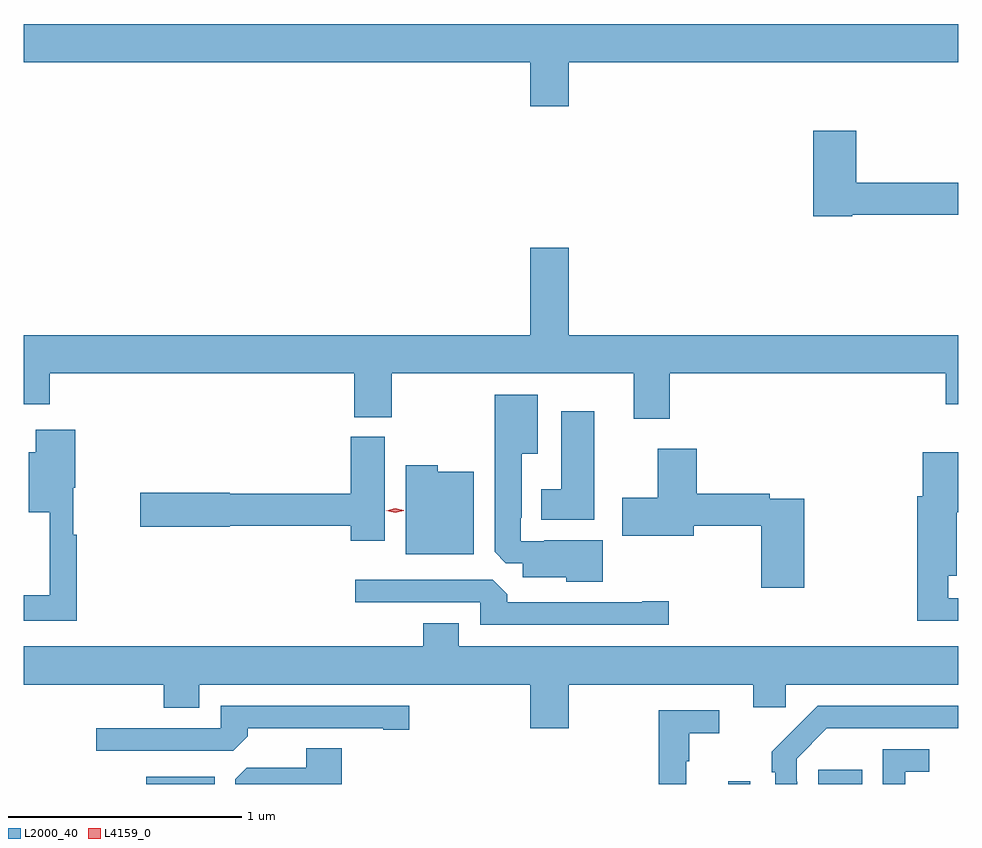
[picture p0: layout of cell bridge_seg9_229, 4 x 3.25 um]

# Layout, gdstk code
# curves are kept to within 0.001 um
import gdstk
lib = gdstk.Library(unit=1e-6, precision=1e-09)
def R(c, l, rs):  # rectangles x0, y0, x1, y1
    for r in rs: c.add(gdstk.rectangle(r[:2], r[2:], *l))
def P(c, l, *ps):  # polygons
    for p in ps: c.add(gdstk.Polygon(p, *l))
L2000_40 = (2000, 40)
L4159_0 = (4159, 0)

bridge_seg9_229 = lib.new_cell('bridge_seg9_229')
R(bridge_seg9_229, L2000_40, [(235.292,1207.982,235.585,1208.014), (237.783,1207.982,237.879,1207.993), (238.169,1207.982,238.357,1208.044)])
P(bridge_seg9_229, L2000_40, [(237.1,1211.072),(238.768,1211.072),(238.768,1211.236),(234.768,1211.236),(234.768,1211.072),(236.936,1211.072),(236.936,1210.884),(237.1,1210.884)],
  [(238.314,1210.42),(238.768,1210.42),(238.768,1210.556),(238.331,1210.556),(238.331,1210.78),(238.148,1210.78),(238.148,1210.412),(238.314,1210.412)],
  [(237.533,1209.74),(238.715,1209.74),(238.715,1209.609),(238.768,1209.609),(238.768,1209.904),(237.1,1209.904),(237.1,1210.279),(236.936,1210.279),(236.936,1209.904),(234.768,1209.904),(234.768,1209.609),(234.878,1209.609),(234.878,1209.74),(236.183,1209.74),(236.183,1209.553),(236.343,1209.553),(236.343,1209.74),(237.38,1209.74),(237.38,1209.546),(237.533,1209.546)],
  [(237.247,1209.025),(236.995,1209.025),(236.995,1209.021),(236.895,1209.021),(236.895,1209.121),(236.899,1209.121),(236.899,1209.395),(236.968,1209.395),(236.968,1209.649),(236.783,1209.649),(236.783,1208.977),(236.832,1208.928),(236.903,1208.928),(236.903,1208.867),(237.09,1208.867),(237.09,1208.849),(237.247,1208.849)],
  [(237.211,1209.577),(237.068,1209.577),(237.068,1209.244),(236.984,1209.244),(236.984,1209.113),(237.211,1209.113)],
  [(234.995,1209.05),(234.98,1209.05),(234.98,1209.25),(234.989,1209.25),(234.989,1209.499),(234.818,1209.499),(234.818,1209.403),(234.788,1209.403),(234.788,1209.146),(234.878,1209.146),(234.878,1208.791),(234.768,1208.791),(234.768,1208.682),(234.995,1208.682)],
  [(236.314,1209.468),(236.168,1209.468),(236.168,1209.224),(235.65,1209.224),(235.65,1209.23),(235.266,1209.23),(235.266,1209.083),(235.65,1209.083),(235.65,1209.088),(236.168,1209.088),(236.168,1209.024),(236.314,1209.024)],
  [(238.109,1209.204),(237.962,1209.204),(237.962,1209.224),(237.65,1209.224),(237.65,1209.418),(237.482,1209.418),(237.482,1209.207),(237.33,1209.207),(237.33,1209.044),(237.637,1209.044),(237.637,1209.088),(237.926,1209.088),(237.926,1208.823),(238.109,1208.823)],
  [(238.768,1208.778),(238.726,1208.778),(238.726,1208.873),(238.762,1208.873),(238.762,1209.146),(238.768,1209.146),(238.768,1209.403),(238.616,1209.403),(238.616,1209.213),(238.592,1209.213),(238.592,1208.682),(238.768,1208.682)],
  [(236.695,1209.319),(236.541,1209.319),(236.541,1209.346),(236.402,1209.346),(236.402,1208.966),(236.695,1208.966)],
  [(237.529,1208.765),(237.416,1208.765),(237.416,1208.76),(236.837,1208.76),(236.837,1208.794),(236.775,1208.856),(236.187,1208.856),(236.187,1208.76),(236.721,1208.76),(236.721,1208.664),(237.529,1208.664)],
  [(237.1,1208.408),(237.89,1208.408),(237.89,1208.31),(238.029,1208.31),(238.029,1208.408),(238.768,1208.408),(238.768,1208.572),(236.629,1208.572),(236.629,1208.671),(236.477,1208.671),(236.477,1208.572),(234.768,1208.572),(234.768,1208.408),(235.367,1208.408),(235.367,1208.309),(235.519,1208.309),(235.519,1208.408),(236.936,1208.408),(236.936,1208.22),(237.1,1208.22)],
  [(238.08,1207.991),(238.077,1207.991),(238.077,1208.091),(238.206,1208.22),(238.768,1208.22),(238.768,1208.316),(238.166,1208.316),(237.969,1208.121),(237.969,1208.033),(237.984,1208.033),(237.984,1207.982),(238.08,1207.982)],
  [(235.727,1208.186),(235.727,1208.22),(236.306,1208.22),(236.306,1208.215),(236.419,1208.215),(236.419,1208.316),(235.611,1208.316),(235.611,1208.22),(235.077,1208.22),(235.077,1208.124),(235.665,1208.124)],
  [(237.605,1208.079),(237.616,1208.079),(237.616,1208.2),(237.745,1208.2),(237.745,1208.298),(237.487,1208.298),(237.487,1207.982),(237.605,1207.982)],
  [(236.129,1208.135),(235.976,1208.135),(235.976,1208.052),(235.722,1208.052),(235.673,1208.003),(235.673,1207.982),(236.129,1207.982)],
  [(238.542,1208.034),(238.645,1208.034),(238.645,1208.13),(238.446,1208.13),(238.446,1207.982),(238.542,1207.982)])
P(bridge_seg9_229, L4159_0, [(236.357,1209.143),(236.319,1209.152),(236.319,1209.152),(236.319,1209.153),(236.357,1209.163),(236.395,1209.154),(236.395,1209.154),(236.395,1209.153)])

lib.write_gds('bridge_seg9_229.gds')
